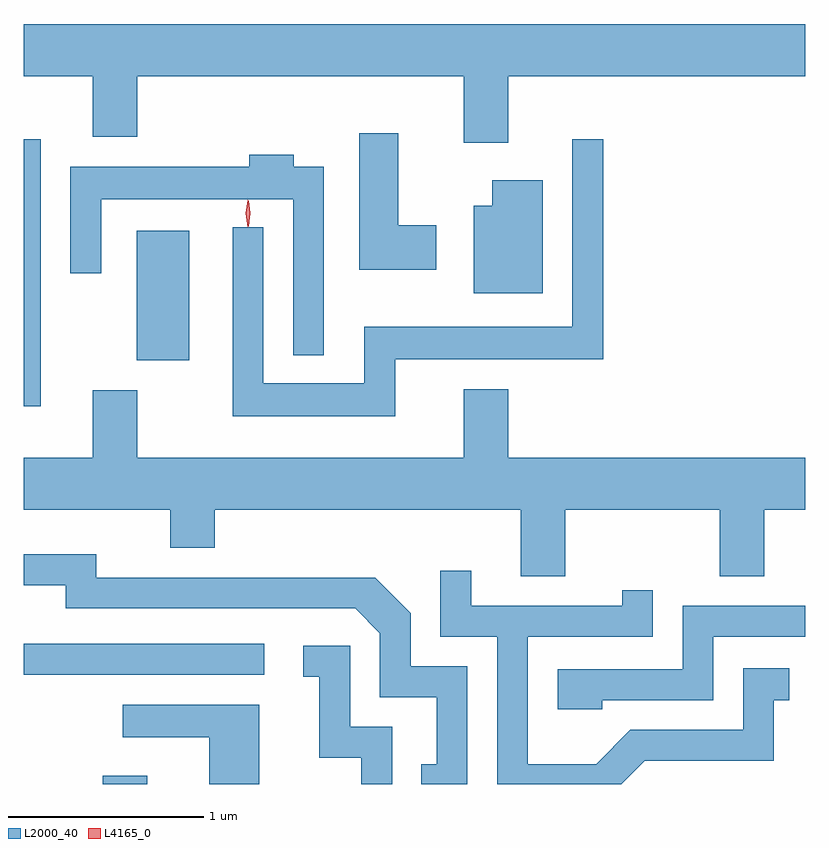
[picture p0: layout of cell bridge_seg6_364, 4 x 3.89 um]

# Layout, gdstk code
import gdstk
lib = gdstk.Library(unit=1e-6, precision=1e-09)
def R(c, l, rs):  # rectangles x0, y0, x1, y1
    for r in rs: c.add(gdstk.rectangle(r[:2], r[2:], *l))
def P(c, l, *ps):  # polygons
    for p in ps: c.add(gdstk.Polygon(p, *l))
L2000_40 = (2000, 40)
L4165_0 = (4165, 0)

bridge_seg6_364 = lib.new_cell('bridge_seg6_364')
R(bridge_seg6_364, L2000_40, [(984.691,1650.752,984.919,1650.794), (984.288,1651.311,985.518,1651.469), (984.288,1652.686,984.374,1654.053), (984.866,1652.921,985.134,1653.584)])
P(bridge_seg6_364, L2000_40, [(984.288,1654.376),(984.641,1654.376),(984.641,1654.066),(984.869,1654.066),(984.869,1654.376),(986.541,1654.376),(986.541,1654.036),(986.769,1654.036),(986.769,1654.376),(988.288,1654.376),(988.288,1654.644),(984.288,1654.644)],
  [(986.399,1653.614),(986.204,1653.614),(986.204,1654.084),(986.006,1654.084),(986.006,1653.386),(986.399,1653.386)],
  [(986.189,1652.926),(987.254,1652.926),(987.254,1654.053),(987.096,1654.053),(987.096,1653.094),(986.031,1653.094),(986.031,1652.804),(985.514,1652.804),(985.514,1653.603),(985.356,1653.603),(985.356,1652.636),(986.189,1652.636)],
  [(985.824,1653.914),(985.669,1653.914),(985.669,1653.974),(985.441,1653.974),(985.441,1653.914),(984.526,1653.914),(984.526,1653.368),(984.684,1653.368),(984.684,1653.746),(985.666,1653.746),(985.666,1652.948),(985.824,1652.948)],
  [(986.944,1653.844),(986.686,1653.844),(986.686,1653.714),(986.591,1653.714),(986.591,1653.266),(986.944,1653.266)],
  [(987.059,1652.156),(987.851,1652.156),(987.851,1651.816),(988.079,1651.816),(988.079,1652.156),(988.288,1652.156),(988.288,1652.424),(986.769,1652.424),(986.769,1652.774),(986.541,1652.774),(986.541,1652.424),(984.869,1652.424),(984.869,1652.769),(984.641,1652.769),(984.641,1652.424),(984.288,1652.424),(984.288,1652.156),(985.036,1652.156),(985.036,1651.961),(985.264,1651.961),(985.264,1652.156),(986.831,1652.156),(986.831,1651.816),(987.059,1651.816)],
  [(986.559,1651.354),(986.269,1651.354),(986.269,1651.627),(986.087,1651.809),(984.659,1651.809),(984.659,1651.929),(984.288,1651.929),(984.288,1651.771),(984.501,1651.771),(984.501,1651.651),(985.984,1651.651),(986.111,1651.524),(986.111,1651.196),(986.401,1651.196),(986.401,1650.854),(986.323,1650.854),(986.323,1650.752),(986.559,1650.752)],
  [(987.467,1650.871),(988.129,1650.871),(988.129,1651.181),(988.208,1651.181),(988.208,1651.344),(987.971,1651.344),(987.971,1651.029),(987.394,1651.029),(987.219,1650.854),(986.869,1650.854),(986.869,1651.506),(987.509,1651.506),(987.509,1651.743),(987.351,1651.743),(987.351,1651.664),(986.579,1651.664),(986.579,1651.843),(986.421,1651.843),(986.421,1651.506),(986.711,1651.506),(986.711,1650.752),(987.348,1650.752)],
  [(987.249,1651.181),(987.819,1651.181),(987.819,1651.506),(988.288,1651.506),(988.288,1651.664),(987.661,1651.664),(987.661,1651.339),(987.021,1651.339),(987.021,1651.136),(987.249,1651.136)],
  [(986.174,1651.044),(985.959,1651.044),(985.959,1651.459),(985.718,1651.459),(985.718,1651.301),(985.801,1651.301),(985.801,1650.886),(986.016,1650.886),(986.016,1650.752),(986.174,1650.752)],
  [(985.494,1651.159),(984.793,1651.159),(984.793,1650.991),(985.236,1650.991),(985.236,1650.752),(985.494,1650.752)])
P(bridge_seg6_364, L4165_0, [(985.434,1653.604),(985.425,1653.674),(985.434,1653.742),(985.435,1653.743),(985.435,1653.742),(985.445,1653.674),(985.435,1653.604),(985.435,1653.604)],
  [(985.438,1653.607),(985.437,1653.608),(985.428,1653.674),(985.437,1653.74),(985.437,1653.74),(985.438,1653.74),(985.447,1653.674),(985.438,1653.608)])

lib.write_gds('bridge_seg6_364.gds')
